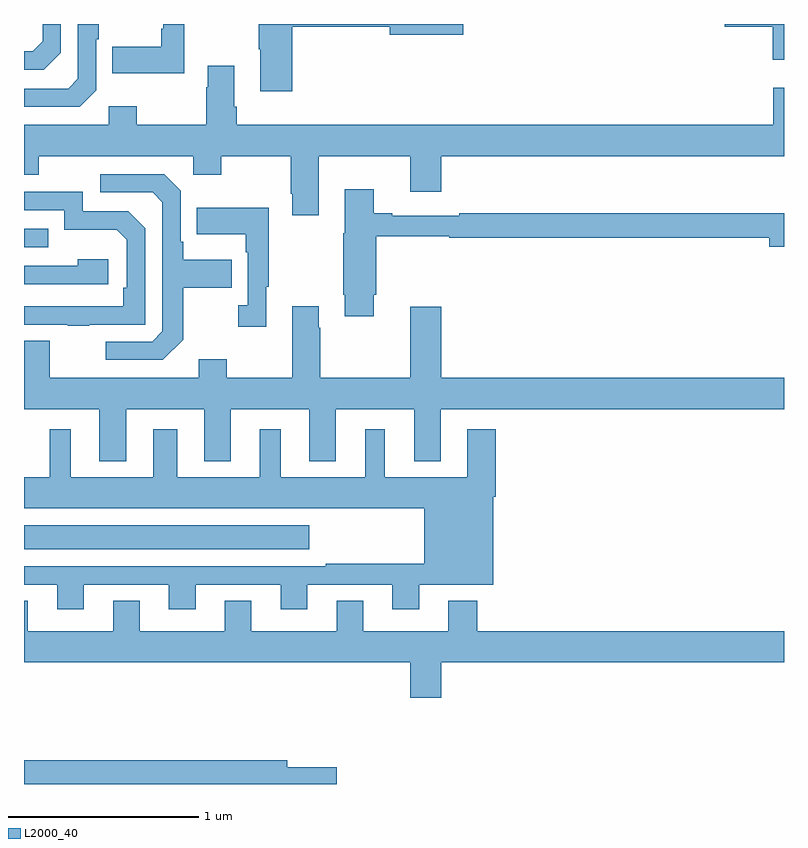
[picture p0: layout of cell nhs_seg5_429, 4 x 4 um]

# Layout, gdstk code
import gdstk
lib = gdstk.Library(unit=1e-6, precision=1e-09)
def R(c, l, rs):  # rectangles x0, y0, x1, y1
    for r in rs: c.add(gdstk.rectangle(r[:2], r[2:], *l))
def P(c, l, *ps):  # polygons
    for p in ps: c.add(gdstk.Polygon(p, *l))
L2000_40 = (2000, 40)

nhs_seg5_429 = lib.new_cell('nhs_seg5_429')
R(nhs_seg5_429, L2000_40, [(139,844.034,140.5,844.162), (139,845.625,139.127,845.721)])
P(nhs_seg5_429, L2000_40, [(140.411,846.784),(140.924,846.784),(140.924,846.742),(141.313,846.742),(141.313,846.799),(140.236,846.799),(140.236,846.667),(140.243,846.667),(140.243,846.444),(140.411,846.444)],
  [(143,846.799),(142.688,846.799),(142.688,846.785),(142.941,846.785),(142.941,846.611),(143,846.611)],
  [(139.194,846.648),(139.194,846.799),(139.098,846.799),(139.098,846.708),(139.045,846.655),(139,846.655),(139,846.558),(139.104,846.558)],
  [(139.843,846.799),(139.734,846.799),(139.734,846.775),(139.722,846.775),(139.722,846.679),(139.465,846.679),(139.465,846.539),(139.843,846.539)],
  [(139.38,846.45),(139.38,846.719),(139.393,846.719),(139.393,846.799),(139.284,846.799),(139.284,846.51),(139.233,846.459),(139,846.459),(139,846.363),(139.293,846.363)],
  [(140.12,846.364),(140.107,846.364),(140.107,846.58),(139.967,846.58),(139.967,846.467),(139.96,846.467),(139.96,846.268),(139.593,846.268),(139.593,846.367),(139.446,846.367),(139.446,846.268),(139,846.268),(139,846.005),(139.077,846.005),(139.077,846.104),(139.89,846.104),(139.89,846.005),(140.037,846.005),(140.037,846.104),(140.404,846.104),(140.404,845.905),(140.411,845.905),(140.411,845.793),(140.551,845.793),(140.551,846.104),(141.032,846.104),(141.032,845.916),(141.196,845.916),(141.196,846.104),(143,846.104),(143,846.463),(142.943,846.463),(142.943,846.268),(140.12,846.268)],
  [(139.837,845.137),(139.837,845.41),(140.093,845.41),(140.093,845.557),(139.837,845.557),(139.837,845.653),(139.824,845.653),(139.824,845.922),(139.737,846.009),(139.401,846.009),(139.401,845.913),(139.677,845.913),(139.728,845.862),(139.728,845.181),(139.674,845.127),(139.431,845.127),(139.431,845.031),(139.731,845.031)],
  [(140.842,845.374),(140.855,845.374),(140.855,845.682),(141.238,845.682),(141.238,845.674),(142.922,845.674),(142.922,845.627),(143,845.627),(143,845.803),(141.292,845.803),(141.292,845.79),(140.938,845.79),(140.938,845.803),(140.842,845.803),(140.842,845.929),(140.687,845.929),(140.687,845.697),(140.68,845.697),(140.68,845.374),(140.687,845.374),(140.687,845.262),(140.842,845.262)],
  [(139.343,845.217),(139.638,845.217),(139.638,845.724),(139.548,845.814),(139.308,845.814),(139.308,845.916),(139,845.916),(139,845.82),(139.212,845.82),(139.212,845.717),(139.489,845.717),(139.542,845.664),(139.542,845.41),(139.522,845.41),(139.522,845.313),(139,845.313),(139,845.217),(139.231,845.217),(139.231,845.212),(139.343,845.212)],
  [(140.275,845.417),(140.287,845.417),(140.287,845.833),(139.909,845.833),(139.909,845.693),(140.166,845.693),(140.166,845.597),(140.178,845.597),(140.178,845.318),(140.127,845.318),(140.127,845.205),(140.275,845.205)],
  [(139.444,845.56),(139.283,845.56),(139.283,845.526),(139,845.526),(139,845.43),(139.444,845.43)],
  [(139.537,844.772),(139.949,844.772),(139.949,844.499),(140.089,844.499),(140.089,844.772),(140.501,844.772),(140.501,844.499),(140.641,844.499),(140.641,844.772),(141.053,844.772),(141.053,844.499),(141.193,844.499),(141.193,844.772),(143,844.772),(143,844.936),(141.196,844.936),(141.196,845.311),(141.032,845.311),(141.032,844.936),(140.559,844.936),(140.559,845.201),(140.551,845.201),(140.551,845.314),(140.411,845.314),(140.411,844.936),(140.067,844.936),(140.067,845.035),(139.919,845.035),(139.919,844.936),(139.135,844.936),(139.135,845.131),(139,845.131),(139,844.772),(139.397,844.772),(139.397,844.499),(139.537,844.499)],
  [(139.315,843.849),(139.763,843.849),(139.763,843.72),(139.903,843.72),(139.903,843.849),(140.351,843.849),(140.351,843.72),(140.491,843.72),(140.491,843.849),(140.939,843.849),(140.939,843.72),(141.079,843.72),(141.079,843.848),(141.469,843.848),(141.469,844.31),(141.482,844.31),(141.482,844.666),(141.332,844.666),(141.332,844.414),(140.899,844.414),(140.899,844.666),(140.795,844.666),(140.795,844.414),(140.35,844.414),(140.35,844.666),(140.24,844.666),(140.24,844.414),(139.807,844.414),(139.807,844.666),(139.679,844.666),(139.679,844.414),(139.246,844.414),(139.246,844.666),(139.136,844.666),(139.136,844.414),(139,844.414),(139,844.25),(141.107,844.25),(141.107,843.958),(140.587,843.958),(140.587,843.945),(139,843.945),(139,843.849),(139.175,843.849),(139.175,843.72),(139.315,843.72)],
  [(141.196,843.44),(143,843.44),(143,843.604),(141.386,843.604),(141.386,843.763),(141.233,843.763),(141.233,843.604),(140.785,843.604),(140.785,843.764),(140.645,843.764),(140.645,843.604),(140.197,843.604),(140.197,843.764),(140.057,843.764),(140.057,843.604),(139.609,843.604),(139.609,843.764),(139.469,843.764),(139.469,843.604),(139.021,843.604),(139.021,843.764),(139,843.764),(139,843.44),(141.032,843.44),(141.032,843.252),(141.196,843.252)],
  [(140.647,842.888),(140.386,842.888),(140.386,842.924),(139,842.924),(139,842.799),(140.647,842.799)])

lib.write_gds('nhs_seg5_429.gds')
